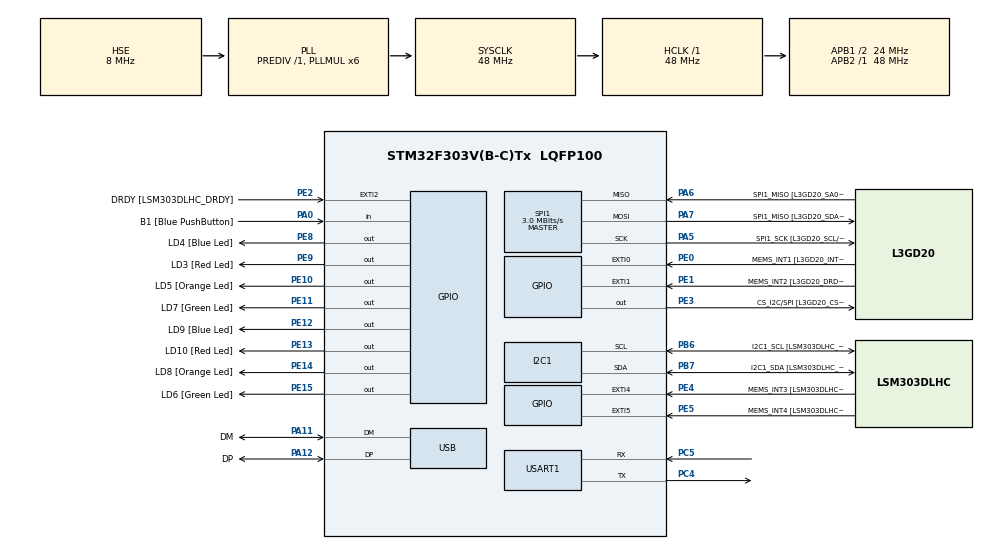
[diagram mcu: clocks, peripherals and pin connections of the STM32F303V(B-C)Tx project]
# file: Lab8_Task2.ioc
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I2C1.Timing=0x2000090E
I2C1.Timing-I2C=0x2000090E
Mcu.Family=STM32F3
Mcu.Name=STM32F303V(B-C)Tx
Mcu.Package=LQFP100
NVIC.PriorityGroup=NVIC_PRIORITYGROUP_0
NVIC.SPI1_IRQn=true\:0\:0\:false\:false\:true\:true\:true\:true
PA0.GPIO_Label=B1 [Blue PushButton]
PA0.Signal=GPIO_Input
PA11.GPIO_Label=DM
PA11.Mode=Device
PA11.Signal=USB_DM
PA12.GPIO_Label=DP
PA12.Mode=Device
PA12.Signal=USB_DP
PA13.GPIO_Label=SWDIO
PA13.Mode=Serial_Wire
PA13.Signal=SYS_JTMS-SWDIO
PA14.GPIO_Label=SWCLK
PA14.Mode=Serial_Wire
PA14.Signal=SYS_JTCK-SWCLK
PA5.GPIO_Label=SPI1_SCK [L3GD20_SCL/SPC]
PA5.Mode=Full_Duplex_Master
PA5.Signal=SPI1_SCK
PA6.GPIO_Label=SPI1_MISO [L3GD20_SA0/SDO]
PA6.Mode=Full_Duplex_Master
PA6.Signal=SPI1_MISO
PA7.GPIO_Label=SPI1_MISO [L3GD20_SDA/SDI/SDO]
PA7.Mode=Full_Duplex_Master
PA7.Signal=SPI1_MOSI
PB3.GPIO_Label=SWO
PB3.Signal=SYS_JTDO-TRACESWO
PB6.GPIO_Label=I2C1_SCL [LSM303DLHC_SCL]
PB6.GPIO_Pu=GPIO_PULLUP
PB6.Mode=I2C
PB6.Signal=I2C1_SCL
PB7.GPIO_Label=I2C1_SDA [LSM303DLHC_SDA]
PB7.GPIO_Pu=GPIO_PULLUP
PB7.Mode=I2C
PB7.Signal=I2C1_SDA
PC14-OSC32_IN.GPIO_Label=OSC32_IN
PC14-OSC32_IN.Signal=RCC_OSC32_IN
PC15-OSC32_OUT.GPIO_Label=OSC32_OUT
PC15-OSC32_OUT.Signal=RCC_OSC32_OUT
PC4.Mode=Asynchronous
PC4.Signal=USART1_TX
PC5.Mode=Asynchronous
PC5.Signal=USART1_RX
PE0.GPIO_Label=MEMS_INT1 [L3GD20_INT1]
PE0.GPIO_ModeDefaultEXTI=GPIO_MODE_EVT_RISING
PE0.Signal=GPXTI0
PE1.GPIO_Label=MEMS_INT2 [L3GD20_DRDY/INT2]
PE1.GPIO_ModeDefaultEXTI=GPIO_MODE_EVT_RISING
PE1.Signal=GPXTI1
PE10.GPIO_Label=LD5 [Orange Led]
PE10.Signal=GPIO_Output
PE11.GPIO_Label=LD7 [Green Led]
PE11.Signal=GPIO_Output
PE12.GPIO_Label=LD9 [Blue Led]
PE12.Signal=GPIO_Output
PE13.GPIO_Label=LD10 [Red Led]
PE13.Signal=GPIO_Output
PE14.GPIO_Label=LD8 [Orange Led]
PE14.Signal=GPIO_Output
PE15.GPIO_Label=LD6 [Green Led]
PE15.Signal=GPIO_Output
PE2.GPIO_Label=DRDY [LSM303DLHC_DRDY]
PE2.GPIO_ModeDefaultEXTI=GPIO_MODE_EVT_RISING
PE2.Signal=GPXTI2
PE3.GPIO_Label=CS_I2C/SPI [L3GD20_CS_I2C/SPI]
PE3.Signal=GPIO_Output
PE4.GPIO_Label=MEMS_INT3 [LSM303DLHC_INT1]
PE4.GPIO_ModeDefaultEXTI=GPIO_MODE_EVT_RISING
PE4.Signal=GPXTI4
PE5.GPIO_Label=MEMS_INT4 [LSM303DLHC_INT2]
PE5.GPIO_ModeDefaultEXTI=GPIO_MODE_EVT_RISING
PE5.Signal=GPXTI5
PE8.GPIO_Label=LD4 [Blue Led]
PE8.Signal=GPIO_Output
PE9.GPIO_Label=LD3 [Red Led]
PE9.Signal=GPIO_Output
PF0-OSC_IN.GPIO_Label=OSC_IN
PF0-OSC_IN.Mode=HSE-External-Clock-Source
PF0-OSC_IN.Signal=RCC_OSC_IN
PF1-OSC_OUT.GPIO_Label=OSC_OUT
PF1-OSC_OUT.Signal=RCC_OSC_OUT
ProjectManager.HeapSize=0x200
ProjectManager.StackSize=0x400
ProjectManager.TargetToolchain=CMake
RCC.AHBFreq_Value=48000000
RCC.APB1CLKDivider=RCC_HCLK_DIV2
RCC.APB1Freq_Value=24000000
RCC.APB1TimFreq_Value=48000000
RCC.APB2Freq_Value=48000000
RCC.APB2TimFreq_Value=48000000
RCC.CortexFreq_Value=48000000
RCC.HCLKFreq_Value=48000000
RCC.HSE_VALUE=8000000
RCC.HSI_VALUE=8000000
RCC.LSE_VALUE=32768
RCC.PLLMUL=RCC_PLL_MUL6
RCC.SYSCLKFreq_VALUE=48000000
RCC.SYSCLKSourceVirtual=RCC_SYSCLKSOURCE_PLLCLK
RCC.USBFreq_Value=48000000
SPI1.BaudRatePrescaler=SPI_BAUDRATEPRESCALER_16
SPI1.BaudRatePrescaler-Full_Duplex_Master=SPI_BAUDRATEPRESCALER_2
SPI1.CLKPhase=SPI_PHASE_2EDGE
SPI1.CLKPolarity=SPI_POLARITY_HIGH
SPI1.CalculateBaudRate=3.0 MBits/s
SPI1.CalculateBaudRate-Full_Duplex_Master=24.0 MBits/s
SPI1.DataSize=SPI_DATASIZE_8BIT
SPI1.Direction=SPI_DIRECTION_2LINES
SPI1.Mode=SPI_MODE_MASTER
SPI1.Mode-Full_Duplex_Master=SPI_MODE_MASTER
SPI1.VirtualType=VM_MASTER
USART1.VirtualMode-Asynchronous=VM_ASYNC
board=STM32F3DISCOVERY

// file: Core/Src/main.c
/* USER CODE BEGIN Header */
/**
  ******************************************************************************
  * @file           : main.c
  * @brief          : Lab 8 Task 3 - SPI Gyroscope (Corrected)
  ******************************************************************************
  */
/* USER CODE END Header */

#include "main.h"

/* USER CODE BEGIN Includes */
#include <stdbool.h>
#include <stdint.h>
#include <stdio.h>
/* USER CODE END Includes */

I2C_HandleTypeDef hi2c1;
SPI_HandleTypeDef hspi1;
UART_HandleTypeDef huart1;

void SystemClock_Config(void);
static void MX_GPIO_Init(void);
static void MX_I2C1_Init(void);
static void MX_SPI1_Init(void);
static void MX_USART1_UART_Init(void);

/* USER CODE BEGIN PFP */
void gyro_init(void);
void gyro_set_ctrl_reg4(void);
void reader(uint8_t reg_addr, uint8_t *rx_data);
int16_t read_16bit(uint8_t high_byte, uint8_t low_byte);
/* USER CODE END PFP */

/* USER CODE BEGIN 0 */

// Corrected Full-Duplex SPI Reader
void reader(uint8_t reg_addr, uint8_t *rx_data) {
    uint8_t tx_buffer[2] = {reg_addr, 0x00}; // Send Address, then Dummy Byte
    uint8_t rx_buffer[2] = {0x00, 0x00};     // Receive Garbage, then Actual Data

    HAL_GPIO_WritePin(GPIOE, GPIO_PIN_3, GPIO_PIN_RESET); // CS Low
    HAL_SPI_TransmitReceive(&hspi1, tx_buffer, rx_buffer, 2, HAL_MAX_DELAY);
    HAL_GPIO_WritePin(GPIOE, GPIO_PIN_3, GPIO_PIN_SET);   // CS High

    *rx_data = rx_buffer[1]; // Extract the valid data byte
}

#define CTRL_REG1 0x20
#define CTRL_REG1_VAL 0b00001111 // PD = 1 (Power on), Xen/Yen/Zen enabled
void gyro_init(void)
{
    uint8_t tx[2] = {CTRL_REG1, CTRL_REG1_VAL};
    HAL_GPIO_WritePin(GPIOE, GPIO_PIN_3, GPIO_PIN_RESET);
    HAL_SPI_Transmit(&hspi1, tx, 2, HAL_MAX_DELAY);
    HAL_GPIO_WritePin(GPIOE, GPIO_PIN_3, GPIO_PIN_SET);
}

#define CTRL_REG4 0x23
#define CTRL_REG4_VAL 0b00000000 // FS [1:0] = 00 => +/- 250 dps
void gyro_set_ctrl_reg4(void)
{
    uint8_t tx[2] = {CTRL_REG4, CTRL_REG4_VAL};
    HAL_GPIO_WritePin(GPIOE, GPIO_PIN_3, GPIO_PIN_RESET);
    HAL_SPI_Transmit(&hspi1, tx, 2, HAL_MAX_DELAY);
    HAL_GPIO_WritePin(GPIOE, GPIO_PIN_3, GPIO_PIN_SET);
}

// Corrected 16-bit combining logic (Removed | 0x8000 bug)
int16_t read_16bit(uint8_t high_byte, uint8_t low_byte) {
    return (int16_t)((high_byte << 8) | low_byte);
}
/* USER CODE END 0 */

int main(void)
{
  /* MCU Configuration */
  HAL_Init();
  SystemClock_Config();

  /* Initialize Peripherals */
  MX_GPIO_Init();
  MX_I2C1_Init();
  MX_SPI1_Init();
  MX_USART1_UART_Init();

  /* USER CODE BEGIN 2 */

  // Setup the Sensor
  gyro_init();
  gyro_set_ctrl_reg4();

  // Give the sensor 100ms to wake up properly
  HAL_Delay(100);

  // Send a startup message to confirm UART is working
  char start_msg[] = "System Initialized! Starting SPI Reads...\r\n";
  HAL_UART_Transmit(&huart1, (uint8_t*)start_msg, sizeof(start_msg)-1, HAL_MAX_DELAY);

  /* USER CODE END 2 */

  /* Infinite loop */
  while (1)
  {
    /* USER CODE BEGIN 3 */
    uint8_t xH, xL, yH, yL, zH, zL, temp_raw;

    // Bit 7 (0x80) must be 1 to read from the L3GD20
    reader(0x80 | 0x29, &xH);
    reader(0x80 | 0x28, &xL);

    reader(0x80 | 0x2B, &yH);
    reader(0x80 | 0x2A, &yL);

    reader(0x80 | 0x2D, &zH);
    reader(0x80 | 0x2C, &zL);

    reader(0x80 | 0x26, &temp_raw);

    // Combine Bytes into Signed 16-bit integers
    int16_t x = read_16bit(xH, xL);
    int16_t y = read_16bit(yH, yL);
    int16_t z = read_16bit(zH, zL);

    // Convert to float first to do the proper math
    float x_dps = x * 0.00875f;
    float y_dps = y * 0.00875f;
    float z_dps = z * 0.00875f;
    float temp_display = -(temp_raw) + 43.0f;

    // SAFE PRINTING: Cast floats to integers for snprintf
    // This avoids the "Blank Screen" bug caused by disabled %f formatting
    int int_temp = (int)temp_display;
    int int_x = (int)x_dps;
    int int_y = (int)y_dps;
    int int_z = (int)z_dps;

    char buffer[100];
    int n = snprintf(buffer, sizeof(buffer), "Temp: %d C | X: %d, Y: %d, Z: %d (dps)\r\n",
                     int_temp, int_x, int_y, int_z);

    if (n > 0) {
        HAL_UART_Transmit(&huart1, (uint8_t*)buffer, n, HAL_MAX_DELAY);
    }

    HAL_Delay(500); // 500ms delay between readings
  }
  /* USER CODE END 3 */
}

void SystemClock_Config(void)
{
  RCC_OscInitTypeDef RCC_OscInitStruct = {0};
  RCC_ClkInitTypeDef RCC_ClkInitStruct = {0};
  RCC_PeriphCLKInitTypeDef PeriphClkInit = {0};

  RCC_OscInitStruct.OscillatorType = RCC_OSCILLATORTYPE_HSI|RCC_OSCILLATORTYPE_HSE;
  RCC_OscInitStruct.HSEState = RCC_HSE_BYPASS;
  RCC_OscInitStruct.HSEPredivValue = RCC_HSE_PREDIV_DIV1;
  RCC_OscInitStruct.HSIState = RCC_HSI_ON;
  RCC_OscInitStruct.HSICalibrationValue = RCC_HSICALIBRATION_DEFAULT;
  RCC_OscInitStruct.PLL.PLLState = RCC_PLL_ON;
  RCC_OscInitStruct.PLL.PLLSource = RCC_PLLSOURCE_HSE;
  RCC_OscInitStruct.PLL.PLLMUL = RCC_PLL_MUL6;
  if (HAL_RCC_OscConfig(&RCC_OscInitStruct) != HAL_OK)
  {
    Error_Handler();
  }

  RCC_ClkInitStruct.ClockType = RCC_CLOCKTYPE_HCLK|RCC_CLOCKTYPE_SYSCLK
                              |RCC_CLOCKTYPE_PCLK1|RCC_CLOCKTYPE_PCLK2;
  RCC_ClkInitStruct.SYSCLKSource = RCC_SYSCLKSOURCE_PLLCLK;
  RCC_ClkInitStruct.AHBCLKDivider = RCC_SYSCLK_DIV1;
  RCC_ClkInitStruct.APB1CLKDivider = RCC_HCLK_DIV2;
  RCC_ClkInitStruct.APB2CLKDivider = RCC_HCLK_DIV1;

  if (HAL_RCC_ClockConfig(&RCC_ClkInitStruct, FLASH_LATENCY_1) != HAL_OK)
  {
    Error_Handler();
  }
  PeriphClkInit.PeriphClockSelection = RCC_PERIPHCLK_USART1|RCC_PERIPHCLK_I2C1;
  PeriphClkInit.Usart1ClockSelection = RCC_USART1CLKSOURCE_PCLK2;
  PeriphClkInit.I2c1ClockSelection = RCC_I2C1CLKSOURCE_HSI;
  if (HAL_RCCEx_PeriphCLKConfig(&PeriphClkInit) != HAL_OK)
  {
    Error_Handler();
  }
}

static void MX_I2C1_Init(void)
{
  hi2c1.Instance = I2C1;
  hi2c1.Init.Timing = 0x2000090E;
  hi2c1.Init.OwnAddress1 = 0;
  hi2c1.Init.AddressingMode = I2C_ADDRESSINGMODE_7BIT;
  hi2c1.Init.DualAddressMode = I2C_DUALADDRESS_DISABLE;
  hi2c1.Init.OwnAddress2 = 0;
  hi2c1.Init.OwnAddress2Masks = I2C_OA2_NOMASK;
  hi2c1.Init.GeneralCallMode = I2C_GENERALCALL_DISABLE;
  hi2c1.Init.NoStretchMode = I2C_NOSTRETCH_DISABLE;
  if (HAL_I2C_Init(&hi2c1) != HAL_OK)
  {
    Error_Handler();
  }
  if (HAL_I2CEx_ConfigAnalogFilter(&hi2c1, I2C_ANALOGFILTER_ENABLE) != HAL_OK)
  {
    Error_Handler();
  }
  if (HAL_I2CEx_ConfigDigitalFilter(&hi2c1, 0) != HAL_OK)
  {
    Error_Handler();
  }
}

static void MX_SPI1_Init(void)
{
  hspi1.Instance = SPI1;
  hspi1.Init.Mode = SPI_MODE_MASTER;
  hspi1.Init.Direction = SPI_DIRECTION_2LINES;
  hspi1.Init.DataSize = SPI_DATASIZE_8BIT;
  hspi1.Init.CLKPolarity = SPI_POLARITY_HIGH;
  hspi1.Init.CLKPhase = SPI_PHASE_2EDGE;
  hspi1.Init.NSS = SPI_NSS_SOFT;
  hspi1.Init.BaudRatePrescaler = SPI_BAUDRATEPRESCALER_16;
  hspi1.Init.FirstBit = SPI_FIRSTBIT_MSB;
  hspi1.Init.TIMode = SPI_TIMODE_DISABLE;
  hspi1.Init.CRCCalculation = SPI_CRCCALCULATION_DISABLE;
  hspi1.Init.CRCPolynomial = 7;
  hspi1.Init.CRCLength = SPI_CRC_LENGTH_DATASIZE;
  hspi1.Init.NSSPMode = SPI_NSS_PULSE_DISABLE;
  if (HAL_SPI_Init(&hspi1) != HAL_OK)
  {
    Error_Handler();
  }
}

static void MX_USART1_UART_Init(void)
{
  huart1.Instance = USART1;
  huart1.Init.BaudRate = 115200;
  huart1.Init.WordLength = UART_WORDLENGTH_8B;
  huart1.Init.StopBits = UART_STOPBITS_1;
  huart1.Init.Parity = UART_PARITY_NONE;
  huart1.Init.Mode = UART_MODE_TX_RX;
  huart1.Init.HwFlowCtl = UART_HWCONTROL_NONE;
  huart1.Init.OverSampling = UART_OVERSAMPLING_16;
  huart1.Init.OneBitSampling = UART_ONE_BIT_SAMPLE_DISABLE;
  huart1.AdvancedInit.AdvFeatureInit = UART_ADVFEATURE_NO_INIT;
  if (HAL_UART_Init(&huart1) != HAL_OK)
  {
    Error_Handler();
  }
}

static void MX_GPIO_Init(void)
{
  GPIO_InitTypeDef GPIO_InitStruct = {0};

  /* GPIO Ports Clock Enable */
  __HAL_RCC_GPIOE_CLK_ENABLE();
  __HAL_RCC_GPIOC_CLK_ENABLE();
  __HAL_RCC_GPIOF_CLK_ENABLE();
  __HAL_RCC_GPIOA_CLK_ENABLE();
  __HAL_RCC_GPIOB_CLK_ENABLE();

  /*Configure GPIO pin Output Level */
  HAL_GPIO_WritePin(GPIOE, CS_I2C_SPI_Pin|LD4_Pin|LD3_Pin|LD5_Pin
                          |LD7_Pin|LD9_Pin|LD10_Pin|LD8_Pin
                          |LD6_Pin, GPIO_PIN_RESET);

  /*Configure GPIO pins : DRDY_Pin MEMS_INT3_Pin MEMS_INT4_Pin MEMS_INT1_Pin MEMS_INT2_Pin */
  GPIO_InitStruct.Pin = DRDY_Pin|MEMS_INT3_Pin|MEMS_INT4_Pin|MEMS_INT1_Pin|MEMS_INT2_Pin;
  GPIO_InitStruct.Mode = GPIO_MODE_EVT_RISING;
  GPIO_InitStruct.Pull = GPIO_NOPULL;
  HAL_GPIO_Init(GPIOE, &GPIO_InitStruct);

  /*Configure GPIO pins : CS_I2C_SPI_Pin LD4_Pin LD3_Pin LD5_Pin LD7_Pin LD9_Pin LD10_Pin LD8_Pin LD6_Pin */
  GPIO_InitStruct.Pin = CS_I2C_SPI_Pin|LD4_Pin|LD3_Pin|LD5_Pin|LD7_Pin|LD9_Pin|LD10_Pin|LD8_Pin|LD6_Pin;
  GPIO_InitStruct.Mode = GPIO_MODE_OUTPUT_PP;
  GPIO_InitStruct.Pull = GPIO_NOPULL;
  GPIO_InitStruct.Speed = GPIO_SPEED_FREQ_LOW;
  HAL_GPIO_Init(GPIOE, &GPIO_InitStruct);

  /*Configure GPIO pin : B1_Pin */
  GPIO_InitStruct.Pin = B1_Pin;
  GPIO_InitStruct.Mode = GPIO_MODE_INPUT;
  GPIO_InitStruct.Pull = GPIO_NOPULL;
  HAL_GPIO_Init(B1_GPIO_Port, &GPIO_InitStruct);
}

void Error_Handler(void)
{
  __disable_irq();
  while (1)
  {
  }
}
